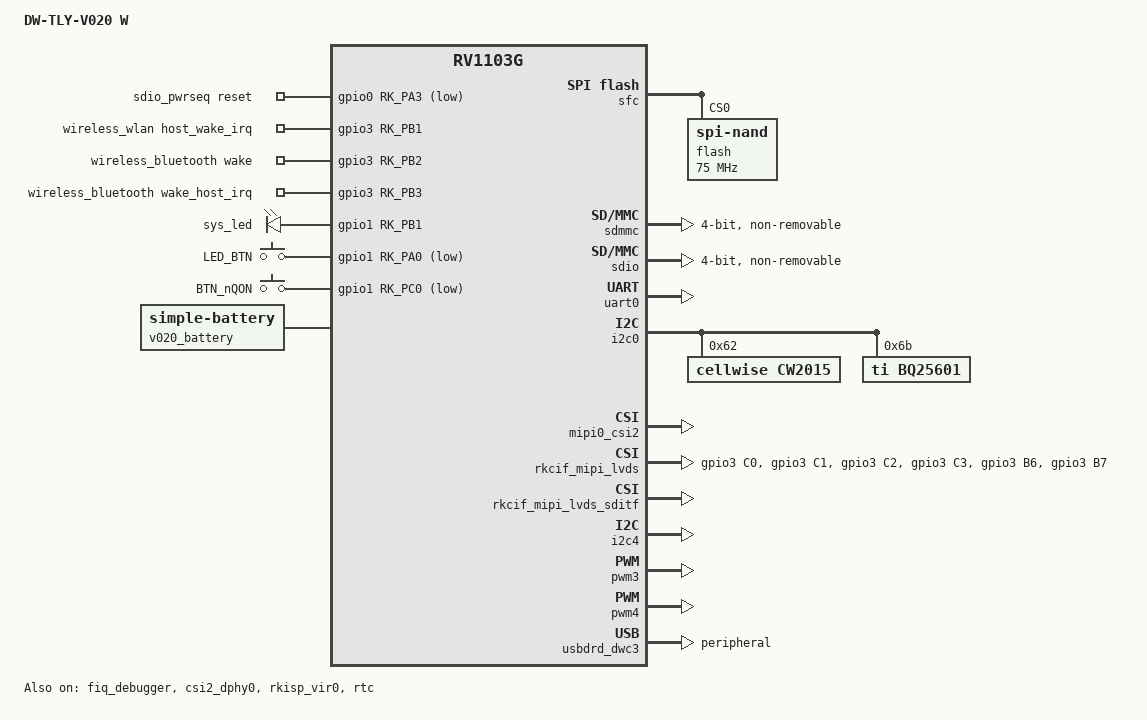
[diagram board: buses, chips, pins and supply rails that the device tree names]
// SPDX-License-Identifier: (GPL-2.0+ OR MIT)
/*
 * DW-TLY-V020 自研板 — RV1106 + SPI NAND + AIC8800
 *
 * 并列新增的板级，与 V014 的 rv1106g-luckfox-pico-ultra-spi-nand.dts 互不影响。
 * 切板靠 BoardConfig 的 RK_KERNEL_DTS，不改动任何既有文件。
 *
 * 与 V014 的关键差异（勿照抄 V014）：
 *   V014: WiFi 走 sdmmc0(GPIO3_A1-A7) / TF 卡走 sdmmc1m0(GPIO2_A0-A5)
 *   V020: SD  走 sdmmc0(GPIO3_A1-A7，贴装 U32 TF 卡座，卡常插/按不可移除) / WiFi 走 sdmmc1m0(GPIO2_A0-A5)
 *   V014: 蓝牙走 uart1m0 / V020: 蓝牙走 uart0m1 四线(GPIO2，含硬件流控)
 *   V020 新增: I2C0 充电/电量计、激光 PWM3、补光 PWM4、SARADC 两路、独立 LED 通道
 *
 * ball→pad 映射来自 doc/Netlist_DW-TLY-V020_2026-09-22.enet，已与 rv1106-pinctrl.dtsi
 * 逐条交叉核验（详见 doc 内说明与本次适配记录）。注意：本 SoC 只有 GPIO0..GPIO4，
 * 网表说明里出现的 GPIO5/6/7 是数据手册给供电 pin 的分组名，不是 GPIO 控制器号，
 * 故本文件不出现 &gpio5/&gpio6/&gpio7。
 *
 * !! model 字符串必须含大写 "W" !!
 * sysdrv/drv_ko/wifi/insmod_wifi.sh:71 用 `cat /proc/device-tree/model | grep "W"`
 * 决定是否 insmod AIC8800（bsp/fdrv/btlpm）。改掉这个字母会导致 WiFi 不再自动加载。
 */

/dts-v1/;
#include "rv1106.dtsi"
#include "rv1106-luckfox-pico-ultra-ipc.dtsi"
#include <dt-bindings/input/input.h>
#include <dt-bindings/display/media-bus-format.h>

/ {
	model = "DW-TLY-V020 W";

	/* 沿用 V014 的根 compatible 串。已核实本内核无任何代码匹配它：
	 * arch/arm/mach-rockchip/rockchip.c:58 的 dt_compat 表不含 rv1106，
	 * 且全树 of_machine_is_compatible 无 "rockchip,rv1106g3" 引用。
	 * 保持一致可避免引入未预料的匹配差异，且与已跑通的 V014 完全同构。 */
	compatible = "rockchip,rv1103g-38x38-ipc-v10", "rockchip,rv1106g3";

	/* 共享 dtsi 的 work_led 占 GPIO3_C6，本板该 pad 未连接（网表 ball 4 为空）
	 * → 见文末 &work_led，关掉免得出现幽灵 LED。 */

	/**********串口别名重映射 —— 让蓝牙 HCI 落在 /dev/ttyS1**********
	 * 本板 BLE HCI 走 uart0(uart0m1 四线)，而整个 Luckfox 用户态把蓝牙 HCI
	 * 写死在 /dev/ttyS1，共两处、都是跨板共享文件：
	 *   project/cfg/BoardConfig_IPC/overlay/overlay-luckfox-buildroot-init/etc/init.d/S35wifibt:56
	 *   sysdrv/tools/board/buildroot/S99hciinit:6   （由 sysdrv/Makefile:612 安装进 rootfs）
	 * 改那两处会波及 V014 及其它所有 Luckfox 板，所以改为在这里给 uart0 分配别名 1。
	 *
	 * 必须连 serial0 一起显式改写：rv1106.dtsi:54 已把 serial0 指给 &uart0，
	 * 若只加 serial1 = &uart0，同一个节点会有两个别名，而 of_alias_get_id() 取的是
	 * 列表里第一个匹配 → 仍会得到 id 0，重映射失效。
	 * uart1 在本板是 disabled，serial0 指过去不会生成 /dev/ttyS0，
	 * 于是 /dev/ttyS1 成为 8250 唯一的端口。
	 *
	 * !! 上板排查蓝牙时注意：本板 /dev/ttyS1 == uart0，不是 uart1 !!
	 * 调试控制台是 ttyFIQ0（fiq_debugger/uart2 实例），与 ttyS* 编号无关，不受影响。
	 * 本树内没有别的东西消费 serial0/serial1（无 getty 跑在 ttyS* 上）。 */
	aliases {
		serial0 = &uart1;
		serial1 = &uart0;
	};

	/* WL_EN 已由 ball 117 (GPIO3_B0) 改接到 PWR_CTRL_M1 = GPIO0_A3 (ball 62)。
	 *
	 * 为什么换脚：原 GPIO3_B0 的软件侧全部核对正确（实测 IOMUX = 功能 0 = GPIO、
	 * DDR 输出使能、DR 随写入翻转），但 pad 回读恒为低、且万用表侧电平不随驱动
	 * 变化 —— SoC 的驱动到不了那一脚，模组因此永远拿不到复位。换到本脚绕开它。
	 *
	 * 极性仍是 ACTIVE_LOW = 复位低有效，与参考板 main_axiarz 同约定；稳态物理高
	 * = 复位释放/使能。
	 *
	 * 本脚空载电平：R22(10k) 下拉到 GND —— 驱动接管之前 WL_EN 保持低（模组被按住
	 * 复位），比旧网络 R28 上拉到 VCC_1V8 更符合复位线应有的行为，所以 pinctrl 里
	 * 配 bias-pull-down 与之一致，且显式声明 RK_FUNC_GPIO 而不依赖复位默认值。
	 *
	 * 副作用（务必知悉）：GPIO0_A3 同时经 R21(10k) 驱动 Q1 的栅极（原 LED_CTRL0
	 * 通道）。即 WL_EN 拉高时 Q1 会一起导通。本树不声明 LED_CTRL* 的任何用途，
	 * 若该通道上接了光源，请确认它可以随 WL_EN 一起动作。
	 *
	 * 不再使用 pre-power-on-delay-ms：100ms 低电平保持随旧脚一并撤除（驱动侧那次
	 * 回移也已还原），复位脉冲回到上游默认的 ~25ms —— 对复位线来说足够。 */
	sdio_pwrseq: sdio-pwrseq {
		compatible = "mmc-pwrseq-simple";
		pinctrl-names = "default";
		pinctrl-0 = <&wl_en_pin>;
		reset-gpios = <&gpio0 RK_PA3 GPIO_ACTIVE_LOW>;
		post-power-on-delay-ms = <500>;
	};

	/* WL_HOST_WAKE = ball 118 = GPIO3_B1 */
	wireless_wlan: wireless-wlan {
		compatible = "wlan-platdata";
		WIFI,host_wake_irq = <&gpio3 RK_PB1 GPIO_ACTIVE_HIGH>;
		status = "okay";
	};

	/* BT_WAKE_HOST = ball 119 = GPIO3_B2 → BT,wake_gpio
	 * HOST_WAKE_BT = ball 120 = GPIO3_B3 → BT,wake_host_irq
	 *
	 * 方向不是猜的，由驱动语义 + 已在跑的 V014 两侧印证：
	 *   rfkill-bt.c:200,209,211 把 wake_gpio 作**输出**（gpio_direction_output）
	 *     → 它是「主机去唤醒模组」的那根，即 BT_WAKE_HOST；
	 *   rfkill-bt.c:168 拿 wake_host_irq 去 request_irq，:410/:441 enable|disable_irq
	 *     → 它是「模组来中断主机」的那根，即 HOST_WAKE_BT。
	 *   V014 的 rv1106g-luckfox-pico-ultra-spi-nand.dts:45,47 正是这个映射
	 *   （BT_WAKE_HOST→wake_gpio，HOST_WAKE_BT→wake_host_irq），不要把两者对调。
	 *
	 * **不配 uart_rts_gpios**：V020 的 RTS 是 uart0m1 的硬件流控脚(GPIO2_A6)，
	 * 不是 GPIO 模拟，不能照抄 V014 的 uart1_gpios/pinctrl-1 写法。
	 * 驱动对缺该属性是良性降级（rfkill-bt.c:541 打印 "uart_rts_gpios is no-in-use." 后继续）。
	 * TODO(极性): 两个 wake 的 ACTIVE_HIGH 未实测。 */
	wireless_bluetooth: wireless-bluetooth {
		compatible = "bluetooth-platdata";
		BT,wake_gpio     = <&gpio3 RK_PB2 GPIO_ACTIVE_HIGH>;
		BT,wake_host_irq = <&gpio3 RK_PB3 GPIO_ACTIVE_HIGH>;
		status = "okay";
	};

	/* SYS_LED = ball 78 = GPIO1_B1 */
	leds: leds {
		compatible = "gpio-leds";

		sys_led: sys-led {
			label = "sys_led";
			/* TODO(极性): 未实测 */
			gpios = <&gpio1 RK_PB1 GPIO_ACTIVE_HIGH>;
			linux,default-trigger = "activity";
			default-state = "on";
		};
	};

	/* LED_BTN = ball 72 = GPIO1_A0；BTN_nQON = ball 95 = GPIO1_C0。
	 *
	 * [2026-09-23] btn-nqon 的 code 由 KEY_PROG2 改成 KEY_POWER —— 长按关机
	 * 要的就是这个语义。当初取 KEY_PROG2 是怕"误上报 KEY_POWER 被用户态当成
	 * 关机请求"，现在这个"请求"正是功能本身，顾虑反过来了。
	 *
	 * 关机的两半分别在：
	 *   计时（按满 3 s 才算）在用户态 /oem/usr/bin/dw_powerkey；
	 *   真断电在内核，bq256xx_charger.c 认领 pm_power_off 后写 BQ25601 的
	 *   BATFET_DIS —— RV1106 没有 PMIC，不写这一位"关机"只是停 CPU 不断电。
	 *
	 * 3 s 这个阈值不是随便定的：按键与 U3 pin12（/QON）是同一个网络，
	 * 而 BQ25601 的 /QON 被拉低 8 s(min)~12 s(max)（手册 tQON_RST）会硬复位
	 * 整机，所以软件阈值必须留出足够余量，否则会在 umount 中途被硬复位。
	 *
	 * TODO(仍未实测)：两个按键的极性（ACTIVE_LOW 是照抄 V014 的假设）、
	 * 分压/RC 参数。极性反了的表现是"按下=上报 release"，用 evtest 一看便知；
	 * led-btn 的极性同样未验，但它不参与关机。 */
	gpio_keys: gpio-keys {
		compatible = "gpio-keys";
		pinctrl-names = "default";
		pinctrl-0 = <&led_btn_pin &btn_nqon_pin>;

		led-btn {
			label = "LED_BTN";
			gpios = <&gpio1 RK_PA0 GPIO_ACTIVE_LOW>;
			linux,code = <KEY_PROG1>;
		};

		btn-nqon {
			label = "BTN_nQON";
			gpios = <&gpio1 RK_PC0 GPIO_ACTIVE_LOW>;
			linux,code = <KEY_POWER>;
		};
	};

	/**********单节锂电参数：U3 BQ25601 的 monitored-battery**********
	 * 被下面 i2c0 的 charger@6b 用 monitored-battery 引用，决定实际写入
	 * 充电芯片寄存器的 ICHG / VBATREG / IPRECHG / ITERM。
	 *
	 * 四个属性必须**全部**写。5.10 的 power_supply_get_battery_info()
	 * (power_supply_core.c) 会先把每个字段预置成 -EINVAL，只填充 DT 里出现的
	 * 属性，然后**照常返回 0**。少写一个，驱动就会走"成功"分支拿到 -EINVAL，
	 * 再经 clamp(ichg, 0, -EINVAL) / clamp(vbat, ..., -EINVAL) 算出垃圾值静默
	 * 写进寄存器 —— 比完全不给 monitored-battery 更危险。
	 *
	 * 电池规格尚未确认，故一律取保守档位，且绝不沿用驱动里的兜底默认
	 * (BQ2560X_ICHG_DEF_uA = 2040 mA / BQ256XX_IINDPM_DEF_uA = 2400 mA)。
	 * 驱动内部是整除，所以实际值一律向下取整：
	 *   ICHG    500000 uA -> 500000/60000 = 8        ->  480 mA
	 *   VBATREG 4200000 uV -> (4200000-3856000)/32000 = 10 -> 4176 mV
	 *   IPRECHG/ITERM 60000 uA -> 寄存器最小值 60 mA
	 *   （IINDPM/VINDPM 不在此处，见 charger@6b 的 input-*-limit）
	 *
	 * 这两个值同时是**硬上限**：hw_init 把 ichg_max/vbatreg_max 设为这里，
	 * 而两个 setter 都对它 clamp()，所以用户态通过 sysfs 写
	 * constant_charge_current/voltage 只能往下调，不可能超过本节点。
	 * 「实测电流与截止电压不得超过电池规格」由此在结构上成立，而非仅靠配置。
	 *
	 * 4.2 V 是常规 1S 截止电压。电池规格确认后（容量 → ICHG，是否有 4.35/4.4 V
	 * 高压档 → VBATREG）再上调；上调即改这里两个数。
	 */
	v020_battery: battery {
		compatible = "simple-battery";

		constant-charge-current-max-microamp = <500000>;
		constant-charge-voltage-max-microvolt = <4200000>;
		precharge-current-microamp = <60000>;
		charge-term-current-microamp = <60000>;
	};
};

/**********SPI NAND (Winbond W25N02KVZEIR, 2Gbit/256MB)**********
 * 与 V014 同型号。分区不在此处声明 —— 由 BoardConfig 的 RK_PARTITION_CMD_IN_ENV
 * 经 U-Boot env(mtdparts) 传入，DTS 再写一份会与 fdt_fixup_mtdparts 打架。
 * ball 39/41/42/44/47/48 = GPIO4_A6/A4/A3/A2/B0/B1。
 */
&sfc {
	status = "okay";
	pinctrl-names = "default";
	pinctrl-0 = <&fspi_pins &fspi_cs0>;

	flash@0 {
		compatible = "spi-nand";
		reg = <0>;
		spi-max-frequency = <75000000>;
		spi-rx-bus-width = <4>;
		spi-tx-bus-width = <1>;
	};
};

/* fspi_pins 的 clk=GPIO4_B1、cs0=GPIO4_B0、d0-d3=GPIO4_A2/A3/A4/A6 与 emmc 同 pad */
&emmc {
	status = "disabled";
};

/**********调试串口：UART2_M1 = ball 79/80 = GPIO1_B3/B2**********
 * 沿用 V014 的做法：&fiq_debugger 持有控制台(console=ttyFIQ0)，&uart2 保持 disabled。
 * rv1106.dtsi 的 fiq_debugger 节点自身不带 pinctrl，必须在这里补，否则 pads 不会被复用
 * （rv1106g-evb2-v10.dts:90 是同样的写法）。
 * 不把 &uart2 设 okay：serial8250 与 fiq_debugger 会争同一个 UART 的寄存器/中断。
 */
&fiq_debugger {
	rockchip,irq-mode-enable = <1>;
	pinctrl-names = "default";
	pinctrl-0 = <&uart2m1_xfer>;
	status = "okay";
};

/**********SD 卡：SDMMC0 = ball 11/12/14/15/16/17/18 = GPIO3_A1..A7**********
 * [2026-09-23 更正，实物确认] 本板贴装的是 **U32(TF-123-ARP9H17 MicroSD 卡座)**，
 * **U8(MKDN128GCL-ZA 贴片 SD NAND)空贴** —— 与原写法正好相反。网表里两者是同一组
 * 6 条信号网(SD_CLK/CMD/D0-D3)的备选封装。卡是**常插、不对外暴露**的，所以
 * non-removable 是按实物意图写的，保留；不引用 sdmmc0_det 同理。
 * （顺带一句事实：SD_DET 物理上接在 U32 pin9、带 R34 上拉；不引用它是有意
 *   简化而非「U32 没贴」。R34 的料号 0402WGF4702TCE 是 **47k** —— 此前注释里
 *   写的 4.7k 是读错料号(4702 vs 4701)，R34–R40 七颗都是 47k，全部在 BOM 里。）
 * 代价记一笔：MMC_CAP_NONREMOVABLE 下 mmc_rescan 只扫一次(core.c:2257 那条
 * "If there is a non-removable card registered, only scan once")，
 * 枚举失败后不会自己重试 —— 调试期间每改一次都得重启才会重来。
 * 注意 no-sd/sdio/mmc 才是本内核真正解析的属性；
 * V014 里出现的 supports-sd/supports-sdio 在本树无任何代码读取，是惰性残留。
 *
 * [上板 2026-09-23] mmc1(SDMMC0) 失败，且**失败点会跳**，先后见过两处：
 *   - 死在 ACMD51(SEND_SCR) 的数据阶段，-110（当时记下的嫌疑排序：D0 走线/上拉 →
 *     GPIO3 IO 域电压 → 器件本身）；
 *   - 枚举**通过**(读到 CID PNM "SDABC")，改死在 49.5MHz SD_HS 的块读上。
 * 两处都在数据段，共同点是「400kHz 能通、50MHz 挂」—— 见下面相位那条。
 *
 * 下面两项都是「先摆上做对照实验」，**不是**已验证配置，别读成结论：
 *   - non-removable：本节点本来就没有 cd-gpios，写上只是把「贴装件」写实。
 *     mmc core 侧 MMC_CAP_NONREMOVABLE 只跳过卡检测配置(host.c:271)，不改初始化
 *     时序，因此对本次 -110 无作用；代价是失败后不再重扫，要重启才会再试。
 *   - rockchip,default-sample-phase = <90>：**2026-09-23 删掉，同日加回**。
 *     删它的依据「实测对本槽 -110 无影响」本身没错，但**那个实验测不出相位**：
 *     相位只在 timing <= MMC_TIMING_SD_HS 时下发(dw_mmc-rockchip.c:73)，而当时盯的
 *     -110 在 400kHz ID 模式，90° 只折合 625ns、眼宽 2.5us —— 能推出的结论只是
 *     「这一档与相位无关」。同日更晚复现出的失败点换了位置：枚举**通过**(读到
 *     CID PNM "SDABC")，死在 49.5MHz SD_HS 的块读上，报 `dwmmc_rockchip
 *     ffaa0000.mmc: Unexpected xfer timeout, state 0`(dw_mmc.c:3164，host 侧数据段
 *     超时) —— 正是相位起作用的那一档。
 *     [2026-09-23 二次更正] 上一条「参考板的 SD 控制器一律不设相位在本树不成立」
 *     本身也是错的推断：V014 的 &sdmmc(GPIO3) 在那边跑的是 **WiFi SDIO**，
 *     它上面承载 **SD 卡** 的是 &sdio(sdmmc1m0, GPIO2) 且**不设相位**。
 *     也就是说 <90> 从来不是「SD 槽的参考值」，它是 WiFi 槽的值。
 *
 * [2026-09-23 16:5x 上板实测，本槽相位实验结案] **<90> 无效，且相位不是根因。**
 *   先证明它真的生效了 —— 直接读相位寄存器：
 *     VI_GRF(0xff000000)+0x50008 = 0x2 → bits[1:2]=01 → 90°（SDMMC_CON1, sample）
 *     VI_GRF(0xff000000)+0x50004 = 0x2 → 90°（SDMMC_CON0, drive，驱动里是无条件 90）
 *   注意这两个寄存器在 **grf syscon** 里、不在 CRU：clk-rv1106.c 的
 *   rv1106_grf_clk_init() 用 of_iomap(of_get_parent(np))，父节点是 syscon@ff000000，
 *   而 RV1106_SDMMC_CON1 = 0x8 + RV1106_VI_GRF_BASE(0x50000)。读 0xff3a5008 是错的。
 *   生效了却依然读不出数据 → 一个已下发的 90° 救不回来，说明问题不在采样沿，
 *   扫 0/180/270 的优先级随之下降。
 *
 * [2026-09-23 实测] 本槽数据段失败的**完整形态**（这是结论性的一步）：
 *   ios = 49.5MHz / 4-bit / sd high-speed；读 1 扇区即 I/O error；
 *   dmesg 逐条 `blk_update_request: I/O error, dev mmcblk1, sector 0..9`
 *   —— 那是 mmc_blk_read_single()（drivers/mmc/core/block.c:1656，单扇区恢复路径）
 *   每 512B 调一次 blk_update_request 留下的，**这条路径自己不打任何 dev_err**。
 *   所以「dmesg 里没有驱动级报错」不等于没走到驱动，别据此判断失败层次。
 *   尾部 `Unexpected xfer timeout, state 0` 出自 dw_mci_xfer_timer() 的**软定时器**，
 *   state 0 = STATE_IDLE，是失败后残留定时器到期打的，**是尾随噪声不是原因**
 *   （此前把 dw_mmc.c:3164 读成「host 侧数据段超时」也不准确）。
 *
 * 旁证，都指向板级/卡级、而不是 Linux 这侧：
 *   - 同一颗 SoC 的另一路 mmc 完全正常：mmc2 = ff9a0000(SDMMC1, GPIO2) 上的 WiFi
 *     SDIO 枚举成功、跑 50MHz、下固件（大数据量传输）→ SoC 的 mmc IP 与 DMA 无罪。
 *   - U-Boot SPL 那句 `MMC error: The cmd index is 51, ret is -110`：**存疑，不作依据**。
 *     本条此前写成「ACMD51 是 1-bit 数据读 → 连 1 位数据都失败」，**已被下面的实测
 *     否定**（单线能零错误地读完 64MB，DAT0 是好的）。U-Boot 用的是它**自己那份
 *     DTS**（无 bus-width、带 cd-gpios、max-freq 200M），SPL 阶段另有种种可能
 *     （卡未稳定、上一次部分初始化留下的状态、cd-gpios 判卡），当前证据下定不了论。
 *   - 网表：全板只有 U8 空贴(DNP)；SD 相关 7 颗上拉 R34–R40 是 47k，都在 BOM。
 *
 * 因此下面这个 <90> 只是「保留现状、不再是一号嫌疑」，不是结论。
 * [2026-09-23 收尾] 后续实验 ② `bus-width = <1>` 一次就定位成功（见下方节点内注释），
 * ① 换卡与 ③ 降频都没用上。结论：故障在 SD_D1/D2/D3 三条 net，属板级焊接/上拉问题，
 * 与相位、频率、卡本身均无关。
 */
&sdmmc {
	max-frequency = <50000000>;
	/* [2026-09-23 已定位并修复：根因是 JTAG 抢占了 SDMMC0 的引脚]
	 *
	 * 根因：RV1106 的 GPIO3 IOC 里有 force_jtag_sdmmc（IOC syscon = 0xff538000，
	 * 该寄存器在 +0x2f4 ⇒ 本组 = 0x202f4，绝对地址 0xFF5582F4；U-Boot 侧名字见
	 * ioc_rv1106.h）。它是 HIWORD 掩码寄存器（低 16 位值、高 16 位写使能），上电
	 * 后一直是 0x1 —— 即 SDMMC0 的引脚组被交给 JTAG。后果：4 位读**必挂**（每个
	 * 数据块都报 SBE，RINTSTS 0x2000：D2/D3 不在 SDMMC0 手里，起始位永远判不到），
	 * 而 1 位只用 D0 ⇒ 看起来完全正常。枚举（1 位）能过、4 位块读必挂，正好解释
	 * 之前"失败点会跳"。
	 *
	 * 实测证据（2026-09-23，板上，非推断）：
	 *  - 重启后 adb 一上线（uptime 8.98s）读 0xFF5582F4 = 0x1，之后 65s 内不变；
	 *    再次重启同样 ⇒ 该位是 POR/早期就被置起，不是运行中被动态触发。
	 *  - 写 0x00010000（val=0，mask=bit0）后读回 0x0；直接写 0x0 无效（掩码寄存器）。
	 *  - 清位后重新枚举（unbind/bind）：/dev/mmcblk1p1 出现、FAT 分区可挂载可列目录；
	 *    4 位 49.5MHz 顺序读 64MB/2.95s ≈ **21.7MB/s**、SBE 计数 0；随后 2 分钟内
	 *    反复读 8MB×6 次全部通过，该位没被重新置起。
	 * 修复：grf.c 新增 "rockchip,rv1106-ioc" 条目，postcore_initcall 阶段清掉该位
	 * （上游对 RK3399/RK3588/RK3576 的同类问题就是"默认关闭 force_jtag"）。
	 *
	 * 本板 SD_DET（R34 47k 上拉，插卡后实测仍为高，与 SoC 期望的"低=有卡"相反）
	 * 是否参与该位的自动清除**没有验证过**，与本修复无关，不要当成结论。
	 *
	 * 已排除的项（都实测过，留档以免重走）：四条数据线 poke 逐条只动自己那一位
	 * （脚 8→bit2/脚 1→bit7/脚 2→bit6/脚 7→bit3，线通、无短接）、SoC 定义
	 * sdmmc0_d0..d3 = GPIO3_A3/A2/A7/A6 与 netlist 一一对应、两张卡失败方式相同、
	 * 停摄像头流水线不影响、CTRL/INTMASK 无退化、sd.c 无静默降位、IDMAC/PIO 与
	 * 相位都无关（相位那两次实验的结论见下一条注释）。
	 * <4> 现在可用（21.7MB/s）；曾经退到 <1>（6.4MB/s）只是当时的规避。 */
	bus-width = <4>;
	cap-sd-highspeed;
	/* 相位 90° 已实测确认真的写进硬件（VI_GRF+0x50008=0x2）。它是**照抄参考板**的
	 * 值，不是本槽扫出来的最优值；与上面那条 4 位故障无关（当时扫频 400kHz~50MHz
	 * 全挂，那是 JTAG 抢引脚导致的，不是采样窗口问题）。 */
	rockchip,default-sample-phase = <90>;
	disable-wp;
	non-removable;
	no-sdio;
	no-mmc;
	pinctrl-names = "default";
	pinctrl-0 = <&sdmmc0_clk &sdmmc0_cmd &sdmmc0_bus4>;
	status = "okay";
};

/**********WiFi SDIO：SDMMC1_M0 = ball 109..114 = GPIO2_A0..A5**********
 * 与 V014 相反：这里才是 SDIO 模组。4-bit、不可移除。
 * 同一组 pad 的其它可能用户都必须让开：
 *   - i2c4m0_xfer(GPIO2_A0/A1) —— rv1106.dtsi 的 &i2c4 默认值，见文末 i2c4 覆盖
 *   - i2s0_pins(mux 2)、lcd_d8..d13(mux 3，RGB 屏) —— 见文末 vop/rgb 关闭
 *   - uart0m1_ctsn/rtsn(GPIO2_A7/A6) 是蓝牙流控，见 &uart0
 * 这里必须设 rockchip,default-sample-phase = <90>：V014 与 main_axiarz 都把 90 加在
 * **承载 WiFi SDIO 的那个控制器**上（那边是 &sdmmc=GPIO3，本板是 &sdio=GPIO2 ——
 * 控制器换了，角色没换）。
 * [2026-09-23 更正] 原文紧接着写「本板此前把 90 摆在了 SD 控制器上、WiFi 控制器
 * 反而不设，等于两个槽位都拿错了参考」—— **后半句是错的**：全树设该属性的 7 个
 * dts/dtsi 取值一律 90，落点也无「WiFi 专属」规律(emmc 3 / sdio 2 / sdmmc 2)，
 * 且 V014(rv1106g-luckfox-pico-ultra-spi-nand.dts:86) 的 **&sdmmc** 本身就设了 90。
 * [2026-09-23 三次更正] 但那条 V014 证据现在也过期了：V014 的 &sdmmc(GPIO3) 在那边
 * 跑的是 **WiFi SDIO**，它上面承载 SD 卡的是 &sdio(GPIO2) 且不设相位。所以
 * 「90 对 SD 槽同样适用」这句已作废 —— 本板 SD 槽加了 90 并**实测确认已写进硬件，
 * 仍然读不出数据**（详见上方 &sdmmc 的 16:5x 实测段）。**同理本槽(WiFi SDIO)的
 * 这个 90° 也从未实测过，它是照抄参考板的值，别读成结论。**
 *
 * 与 SD 槽不同，SDIO 的初始化路径会进 50MHz(SD_HS) 档（mmc_sdio_init_card 里切高速），
 * 那里 90° ≈ 5ns，与建立/保持窗口同量级，相位是真有作用的 —— dw_mmc-rockchip.c:73
 * 对 timing <= MMC_TIMING_SD_HS 一律套用 default_sample_phase。
 * <90> 取自参考板，**不是本槽实测值**；实测若另有更优值再改，不要在注释里留假结论。
 */
&sdio {
	max-frequency = <50000000>;
	bus-width = <4>;
	cap-sd-highspeed;
	cap-sdio-irq;
	keep-power-in-suspend;
	non-removable;
	rockchip,default-sample-phase = <90>;
	no-sd;
	no-mmc;
	mmc-pwrseq = <&sdio_pwrseq>;
	pinctrl-names = "default";
	pinctrl-0 = <&sdmmc1m0_clk &sdmmc1m0_cmd &sdmmc1m0_bus4>;
	status = "okay";
};

/**********蓝牙 HCI：UART0_M1 = ball 104..107 = GPIO2_B1/B0/A7/A6**********
 * 四线，RTS/CTS 是 uart0m1 的硬件流控脚（不是 GPIO 模拟），故三组 pinctrl 都要。
 * 必须覆盖共享 dtsi 的 <&uart0m0_xfer &uart0m1_xfer>：uart0m0 = GPIO0_A0/A1，
 * 本板未接（ball 58/59 只到主控），留着会把两个 pad 抢走且 m0 无流控脚。
 */
&uart0 {
	status = "okay";
	pinctrl-names = "default";
	pinctrl-0 = <&uart0m1_xfer &uart0m1_ctsn &uart0m1_rtsn>;
};

/* V020 没有 uart1 蓝牙、也没有 ESP32。uart3m0 = GPIO1_A0/A1，
 * 正是本板 LED_BTN(ball 72) 与 LED_PWM/pwm4m0(ball 73) 所在 pad，必须关。
 * uart3m1 是 GPIO1_D0/D1，本板不用。 */
&uart1 {
	status = "disabled";
};

&uart3 {
	status = "disabled";
};

/**********I2C0：充电管理 U3 + 电量计 U7 = ball 75/76 = GPIO1_A3/A4**********
 * 两个器件的中断都没接主控（CHARGE_nINT 未连，CW2015 的 SOC_ALERT 未连），
 * 所以下面两个子节点都不写 interrupt。
 * 总线由 5.1k 上拉到 3.3V。
 */
&i2c0 {
	status = "okay";
	pinctrl-names = "default";
	pinctrl-0 = <&i2c0m0_xfer>;

	/* U7 CW2015CHBD 电量计。驱动就在本内核树内
	 * (drivers/power/supply/cw2015_battery.c)，但 CONFIG_BATTERY_CW2015 默认没开，
	 * 由 BoardConfig 的 rv1106-v020.config 片段打开。
	 *
	 * compatible 取自驱动自己的 of_match 表（该文件 :755 只有 "cellwise,cw2015"），
	 * 不是 Documentation/devicetree/bindings/power/cw2015_battery.txt ——
	 * 那份 .txt 已过时（写的是 "cw201x" + bat_config_info），照它写不会 probe。
	 *
	 * 故意不写 cellwise,battery-profile：驱动对缺该属性是良性降级
	 * （cw2015_parse_properties() 会 dev_warn("No battery-profile found, using
	 * current flash contents") 后继续），沿用芯片 flash 内既有曲线。电池曲线留待标定。
	 *
	 * TODO(地址): 0x62 是 CW2015 的常规 SMBus 地址，板上未实测确认。
	 *
	 * power-supplies 指向 U3 BQ25601，是消除
	 * "Failed to get supply state: -19" 的关键：cw2015_battery.c 的
	 * cw_update_charge_status() 调 power_supply_am_i_supplied()，在没有任何
	 * 已注册 supplier 时它返回 -ENODEV(-19)；有了这里的 phandle，上游的
	 * charger power_supply 才会被找到，进而读它的 ONLINE 判断充电源接入。
	 * 属性名出自本内核树 cw2015_battery.yaml:39（该文件已定义 power-supplies），
	 * 不是自造的。
	 *
	 * 机制上能生效是因为 power_supply_core.c 注册时做
	 *   psy->of_node = cfg->fwnode ? to_of_node(cfg->fwnode) : cfg->of_node;
	 * 而 cw2015 驱动设的是 psy_cfg.fwnode = dev_fwnode(...)，to_of_node() 会把它
	 * 还原成真正的 device_node，所以 power-supplies 能被解析到。
	 *
	 * 注意 cw2015 现在会 -EPROBE_DEFER 到 bq25601 注册完成 —— i2c0 上两颗器件的
	 * probe 顺序不保证，所以冷启动与软重启都靠这条延迟路径收敛。
	 */
	cw2015: cw2015@62 {
		compatible = "cellwise,cw2015";
		reg = <0x62>;

		/* [2026-09-23 A/B 已结案，恢复] A/B 期间这行被注释掉：那版不编入 bq256xx
		 * 驱动，而 power_supply_check_supplies() 对解析不到的 supplier 只会一直
		 * -EPROBE_DEFER、永不转成硬失败 —— 留着会让 cw2015 永远注册不上（电量计
		 * 直接消失）。A/B 结论是「去掉驱动后循环照旧」→ 驱动无罪，故恢复。
		 * **必须与 rv1106-v020.config 的 CONFIG_CHARGER_BQ256XX 成对**，见该处注释。 */
		power-supplies = <&bq25601>;

		status = "okay";
	};

	/**********U3 BQ25601RTWR 充电管理**********
	 * 驱动由 Linux v5.12 回移进本内核树（drivers/power/supply/bq256xx_charger.c），
	 * 由 rv1106-v020.config 片段打开 CONFIG_CHARGER_BQ256XX。回移未改动任何 API，
	 * 只有三处带注释的刻意偏差（见该文件头部）。
	 *
	 * **不写 interrupts**：CHARGE_nINT(U3.7) 未连主控。驱动侧
	 * bq256xx_probe() 用 `if (client->irq)` 保护中断注册，而 i2c-core 对缺
	 * interrupts 属性的 client 会把 irq 钳成 0，所以这是官方支持的配置，
	 * 不是我们发明的旁路。
	 *
	 * 无 IRQ 也不影响 online/status：bq256xx_get_charger_property() 每次被读都
	 * 重新调 bq256xx_get_state() 现场读寄存器，而 0x00 与 0x08..0x0a 在
	 * bq256xx_is_volatile_reg() 里是 volatile，绕过 regmap 缓存。
	 * 也因此不需要加轮询 workqueue —— CW2015 自己每 8s 轮询 am_i_supplied()
	 * 并在状态变化时 power_supply_changed()，拔插事件由它上报用户态。
	 *
	 * compatible 必须**精确**写成 "ti,bq25601" 且不能在前面再挂一个自定义
	 * compatible：5.10 的 i2c-core-base.c 用 of_modalias_node() 取**第一个**
	 * compatible 去匹配 id_table，而 probe 里
	 *   bq->chip_info = &bq256xx_chip_info_tbl[id->driver_data];
	 * 没有 NULL 检查 —— 一旦写了别的 compatible 排前面，会匹配上驱动却在
	 * probe 里空指针。同理不要用 bq25890 等相近型号冒充。
	 *
	 * ti,watchdog-timeout-ms = <0> 是**刻意关闭**看门狗：回移的 v5.12 驱动只在
	 * bq256xx_hw_init() 里设置一次超时，全文从不写 WD_RST(REG0x01 bit6)，没有
	 * kick 路径。而看门狗到期并非"停止充电"—— BQ25601 会退回 default mode，
	 * 把除 IINDPM/VINDPM/BATFET_* 外的寄存器全部恢复默认，也就是 ICHG 变回
	 * 2040 mA、VREG 变回 4.208 V 并继续充电，比停充更危险。在没有 kick 逻辑
	 * 之前必须关；将来要开，得先驱动侧补上周期性写 WD_RST。
	 *
	 * input-current-limit 取 500mA 是配合硬件：U3.2 是 PSEL，经 R20(5.1k) 上拉到
	 * REGN，即硬件选定的 500mA(USB-SDP) 档，而非 2.4A 适配器档。驱动工作在 host
	 * mode，寄存器写入会覆盖该 strap，所以这里显式跟硬件保持一致。电源来源与
	 * 电池规格确认后再上调。
	 */
	bq25601: charger@6b {
		compatible = "ti,bq25601";
		reg = <0x6b>;

		monitored-battery = <&v020_battery>;
		input-current-limit-microamp = <500000>;
		input-voltage-limit-microvolt = <4600000>;
		ti,watchdog-timeout-ms = <0>;

		status = "okay";
	};
};

/**********MIPI CSI：2 data lanes (ball 123-128 = GPIO3_B6/B7/C0..C3)**********
 * 只用 CK0 + D0 + D1。共享 dtsi 的 rkcif_mipi_lvds 用的是 <&mipi_pins>，
 * 那个组含 mipi_lvds_d3n/d3p = GPIO3_B0/B1 与 ck1n/ck1p = GPIO3_B2/B3 ——
 * **正是本板 WL_EN / WL_HOST_WAKE / BT_WAKE_HOST / HOST_WAKE_BT 所在 pad**，
 * 所以必须换成只含 lanes 0/1 的本地组（同 V014）。
 * 也因此本板不能按 SoC「可合并 4-lane」能力配成 4-lane：pins 117-120 已作它用。
 */
&csi2_dphy0 {
	status = "okay";
};

&mipi0_csi2 {
	status = "okay";
};

&rkcif_mipi_lvds {
	status = "okay";
	pinctrl-names = "default";
	pinctrl-0 = <&mipi_pins_2lane>;
};

&rkcif_mipi_lvds_sditf {
	status = "okay";
};

&rkisp_vir0 {
	status = "okay";
};

/**********相机 I2C4_M2 = ball 5/7 = GPIO3_C7 / GPIO3_D0**********
 * 显式写成 m2 有双重保险意义：rv1106.dtsi 的 &i2c4 默认 pinctrl-0 是
 * <&i2c4m0_xfer> = GPIO2_A0/A1，与上面的 WiFi SDIO 冲突；共享 dtsi:456 虽已改成 m2，
 * 但上游若改动就会静默抢走 SDIO 的 D0/D1。
 *
 * sensor 子节点(sc3336 @0x30, pwdn=GPIO3_C5, clock=refclk0, data-lanes=<1 2>)
 * 来自共享 dtsi，与 V014 完全同构 —— V020 的相机接口逐项一致：
 * MCLK 同为 ball 2 经 R8 的 mipi_refclk_out0(GPIO3_C4)、reset 同为 ball 3 = GPIO3_C5、
 * 同为本 2-lane。故沿用，见下面 TODO。
 */
&i2c4 {
	status = "okay";
	pinctrl-names = "default";
	pinctrl-0 = <&i2c4m2_xfer>;

	/* U1 型号**已由网表确认**，不是沿用猜测：doc/Netlist_...enet 里 U1(gge224)
	 * 的 DeviceName 与 FootprintName 都是 "SC3336"，35 pin，且逐脚对得上本节点：
	 *   pin 3  = MIPI/LVDS_MCLK0  → clocks = <&cru MCLK_REF_MIPI0>
	 *   pin 4/5= MIPI_I2C_SDA/SCL → 挂 &i2c4
	 *   pin 6  = MIPI/LVDS_RST    → pwdn-gpios = <&gpio3 RK_PC5>
	 *   pin 18/25 = CLK_P/N，23/24 = D1_N/P，26/33 = D0_N/P → data-lanes = <1 2> 两 lane
	 * 故 compatible/reg/上电时序沿用共享 dtsi 的 sc3336 节点是**有依据的**。
	 *
	 * 残余未确认项（比"型号未知"窄得多，不要当成同一件事）：
	 *   TODO(U1 变体): SC3336 只是传感器型号；镜头/IR-CUT 等变体信息体现在 IQ 文件名
	 *     sc3336_CMK-OT2119-PC1_30IRC-F16 里（30IRC = 30° 红外截止）。需与 BOM 核对
	 *     模组具体料号，否则会挂错 IQ/CAC 参数。
	 *   TODO(U1 地址): 0x30 未实测，用 i2cdetect 确认。
	 *   TODO(U1 strap): pin 28/35 是两个未命名网络($5N13856/$5N13889)，疑为上下拉配置脚，
	 *     需查模组规格书确认是否影响输出格式/分辨率。
	 */
};

/* 共享 dtsi 在 i2c3 上挂了 GT911 触摸屏，其 tp_rst/tp_irq 用 GPIO0_A3/A4 ——
 * 正是本板 LED_CTRL0/LED_CTRL1 所在 pad。本板无触摸屏，关掉。 */
&i2c3 {
	status = "disabled";
};

/**********PWM3 = 激光（ball 60 = GPIO0_A2），PWM4 = 补光（ball 73 = GPIO1_A1）**********
 * 必须覆盖共享 dtsi 的 mux：pwm3 被写成 m2、pwm4 被写成 m0+m1+m2 三组，
 * 本板都在 m0。
 * 安全默认：**不配任何 consumer**（无 pwm-backlight、无 leds-pwm），控制器 probe 后
 * 输出保持关闭，只有用户态显式 echo 到 /sys/class/pwm/pwmchipN/pwmX/enable 才出波形。
 * 另外 rv1106.dtsi 里 PWM 节点用 pinctrl-names = "active"（不是 "default"），
 * 即 pinctrl 只在 enable 时才 apply —— 这是"启动全程不出波形"能成立的前提。
 * 注意这只保证内核侧；iomux 复位电平与 u-boot 侧仍须用示波器实测确认（见验收项）。
 */
&pwm3 {
	status = "okay";
	pinctrl-names = "active";
	pinctrl-0 = <&pwm3m0_pins>;
};

&pwm4 {
	status = "okay";
	pinctrl-names = "active";
	pinctrl-0 = <&pwm4m0_pins>;
};

/* 共享 dtsi 把 pwm1 当 LCD 背光(pwm1m2_pins = GPIO3_D3)。本板无屏。 */
&pwm1 {
	status = "disabled";
};

/**********自研板无 LCD/触摸：释放 GPIO2_A0..A5 给 WiFi SDIO**********
 * 共享 dtsi 的 RGB 屏用 lcd_d8..d13 = GPIO2_A0..A5（与 sdmmc1m0 同 pad），
 * 还有 panel reset = GPIO0_A1、backlight = PWM1。全部关掉。
 */
/ {
	panel: panel {
		status = "disabled";
	};

	backlight: backlight {
		status = "disabled";
	};
};

&display_subsystem {
	status = "disabled";
};

&rgb {
	status = "disabled";
};

&rgb_in_vop {
	status = "disabled";
};

&route_rgb {
	status = "disabled";
};

&vop {
	status = "disabled";
};

/**********共享 dtsi 带进来的、本板不要的**********/

/* gpio-leds 的 work_led 用 GPIO3_C6（网表 ball 4 为空，未连接）→ 关掉，
 * 否则会注册一个指向未连接 pad 的假 LED。 */
&work_led {
	status = "disabled";
};

/* rv1106-evb.dtsi:9 的 adc-keys 占 &saradc 通道 0 —— 正是本板 RECOVERY 的
 * SARADC_IN0。该节点**没有 label**，只能按路径覆盖。
 * 也不照抄它的阈值：keyup-threshold-microvolt = <1800000> 与
 * press-threshold-microvolt = <400781> 是 EVB 的分压值，照搬会在本板上产生虚假按键。
 * RECOVERY 的分压与语义确认前，先让两个通道以原始 IIO 形式暴露给用户态。
 * TODO: 实测 /sys/bus/iio/devices/iio:device0/in_voltage0_raw 后，
 *       再决定把它改成 adc-keys（恢复键）还是保持原始通道。 */
/ {
	adc-keys {
		compatible = "adc-keys";
		status = "disabled";
	};
};

/* 共享 dtsi 在 spi0 上挂了 spidev，本板未引出 SPI0。 */
&spi0 {
	status = "disabled";
};

/**********ETH**********
 * 网表给出了 U2 pins 97-100(ETH_RX_N/P, ETH_TX_N/P)，但磁性器件/RJ45/板对板出口
 * 在当前网表中无法确认是否出板。按适配说明 §5.7：未出板就保持 disabled，
 * 避免无意义的 PHY 探测与功耗。整机确认后再开。
 */
&gmac {
	status = "disabled";
};

/**********USB Type-C**********
 * CC1/CC2 各 5.1k 下拉 = UFP/Device 端，且无 VBUS 电源开关，故只作 peripheral，
 * 不声明 Host 供电能力。VBUS_5V 经 F2 到 BQ25601，USB_DET_IN 到 ball 25。
 */
&usbdrd_dwc3 {
	status = "okay";
	dr_mode = "peripheral";
};

/**********RTC**********/
&rtc {
	status = "okay";
};

/**********音频**********
 * 板上有模拟麦克风(MIC0/MIC1)与 CODEC_LINEOUT，保留共享 dtsi 的 acodec 配置。
 * 无线模组的 PCM_OUT/CLK/IN/SYNC 只出现在 U4 引脚、未接主控，
 * 因此蓝牙 SCO PCM 不能按当前网表启用（共享 dtsi 的 dsm_sound 本就 disabled）。
 * TODO: codec/micbias/增益/声道需结合声学电路与整机麦克风数量确认。
 */

/********** ram oops / pstore **********
 * 与 V014 同布局，理由见 V014 文件内的长注释（DRAM 256MB，ramoops 放 13MB 空隙，
 * 避开 SPL BSS 0x001fe000 与 U-Boot TEXT 0x00200000）。
 * TODO: U2 完整料号(RV1106G2/G3)与 DDR 容量待 BOM 确认；若 DDR 非 256MB，
 *       该地址需重新核算。
 */
&reserved_memory {
	ramoops@d00000 {
		compatible = "ramoops";
		reg = <0x00d00000 0x00040000>; /* 13MB，256KB */
		record-size = <0x8000>;        /* 32KB × 约 4 条 oops/panic */
		console-size = <0x20000>;      /* 128KB printk，watchdog 硬复位也能留尾 */
		ftrace-size = <0x0>;
		pmsg-size = <0x0>;
	};
};

/**********本板本地 pinctrl 组**********/
&pinctrl {
	/* 只含 lanes 0/1 的 CSI 组，避开 GPIO3_B0-B3（WiFi/BT 控制脚）。
	 * ck0 = GPIO3_C0/C1, d0 = GPIO3_C2/C3, d1 = GPIO3_B6/B7 */
	mipi {
		mipi_pins_2lane: mipi-pins-2lane {
			rockchip,pins =
				<3 RK_PC0 2 &pcfg_pull_none>,
				<3 RK_PC1 2 &pcfg_pull_none>,
				<3 RK_PC2 2 &pcfg_pull_none>,
				<3 RK_PC3 2 &pcfg_pull_none>,
				<3 RK_PB6 2 &pcfg_pull_none>,
				<3 RK_PB7 2 &pcfg_pull_none>;
		};
	};

	gpio-keys {
		/* LED_BTN 含 RC 网络，偏置由板上决定 */
		led_btn_pin: led-btn-pin {
			rockchip,pins = <1 RK_PA0 RK_FUNC_GPIO &pcfg_pull_none>;
		};

		/* BTN_nQON 是电源按键状态输入，板上常规上拉 */
		btn_nqon_pin: btn-nqon-pin {
			rockchip,pins = <1 RK_PC0 RK_FUNC_GPIO &pcfg_pull_up>;
		};
	};

	wl-en {
		/* WL_EN = PWR_CTRL_M1 = GPIO0_A3（ball 62），由 sdio_pwrseq 驱动。
		 * 显式写 RK_FUNC_GPIO，不依赖复位默认值 —— 本脚默认功能 1 是
		 * pmic_sleep_m1，不声明就有被复用的风险。
		 * bias-pull-down 与板上 R22(10k 到 GND) 一致：驱动接管前 WL_EN 保持低
		 * = 模组被按住复位，直到 pwrseq 的 post_power_on 把它释放。 */
		wl_en_pin: wl-en-pin {
			rockchip,pins = <0 RK_PA3 RK_FUNC_GPIO &pcfg_pull_down>;
		};
	};
};

/**********LED_CTRL0..3 = ball 62/63/64/65 = GPIO0_A3..A6**********
 * **GPIO0_A3（ball 62）已被 WL_EN 占用**，见上面的 sdio_pwrseq 与 wl_en_pin。
 * 硬件上 WL_EN 与该脚的 R21→Q1 栅极网络并接，即 WL_EN 拉高时 Q1 一起导通。
 * 这是改线后的既成事实，不是本树的选择。
 *
 * 其余三路（LED_CTRL1..3 = GPIO0_A4..A6）仍然刻意**不声明**。
 *
 * 适配说明 §7 把它们标为「输出 / LED 通道控制」，但没有给出极性，而极性决定
 * 「输出低」到底是点亮还是熄灭。在没有极性的情况下抢先驱动一个安全相关输出，
 * 本身就是猜测 —— 比保持复位态更危险。
 *
 * 复位态是高阻输入，由板上驱动电路自己的偏置决定，是唯一不引入假设的选择。
 * bring-up 时先实测极性与默认电平，再二选一：
 *   1) 类安全/常亮需求 → 在此声明 gpio-leds，配 default-state = "off"；
 *   2) 仅用户态按需控制 → 保持不声明，用 libgpiod/gpioset 操作。
 */
